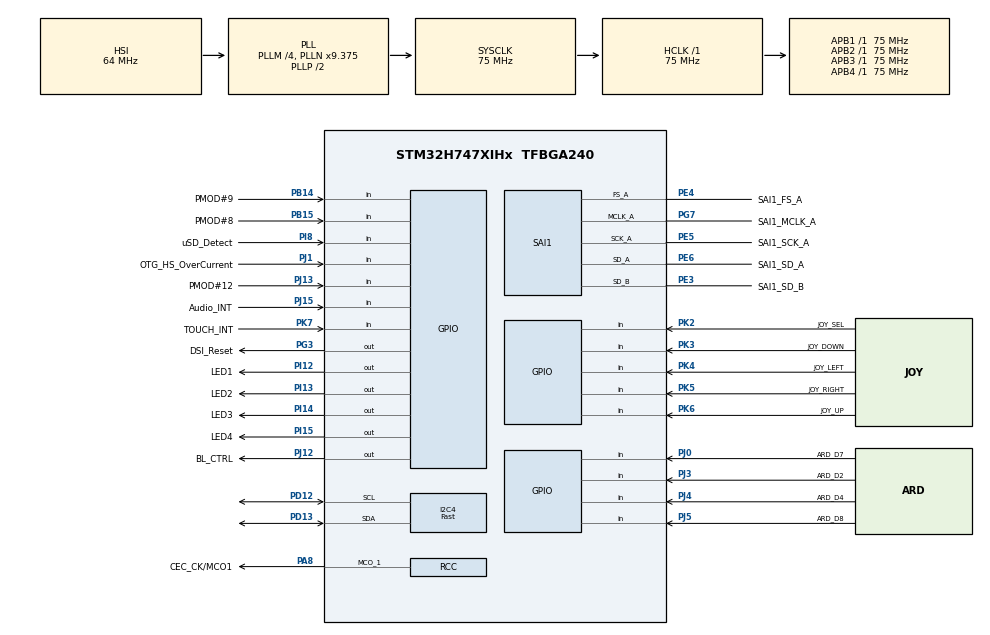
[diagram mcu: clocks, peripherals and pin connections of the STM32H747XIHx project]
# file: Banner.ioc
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CortexM4.IPs=BDMA,DMA,FATFS_M4\:I,FREERTOS_M4\:I,IWDG2\:I,MDMA,NVIC2\:I,RCC,USB_DEVICE_M4\:I,USB_HOST_M4\:I,WWDG2\:I,DEBUG,PDM2PCM_M4\:I,PWR,RESMGR_UTILITY,SYS_M4\:I,CORTEX_M4\:I,VREFBUF
CortexM7.IPs=BDMA\:I,DMA\:I,FATFS_M7\:I,FREERTOS_M7\:I,IWDG1\:I,MDMA\:I,NVIC1\:I,RCC\:I,USB_DEVICE_M7\:I,USB_HOST_M7\:I,WWDG1\:I,CORTEX_M7\:I,DEBUG\:I,PDM2PCM_M7\:I,PWR\:I,RESMGR_UTILITY\:I,SYS\:I,I2C4\:I,SAI1\:I,VREFBUF\:I
CortexM7.Pins=PI12,PI13,PI14,PI15
Dma.Request0=SAI1_A
Dma.Request1=SAI1_B
Dma.SAI1_A.0.Direction=DMA_MEMORY_TO_PERIPH
Dma.SAI1_A.0.EventEnable=DISABLE
Dma.SAI1_A.0.FIFOMode=DMA_FIFOMODE_ENABLE
Dma.SAI1_A.0.FIFOThreshold=DMA_FIFO_THRESHOLD_FULL
Dma.SAI1_A.0.Instance=DMA1_Stream0
Dma.SAI1_A.0.MemBurst=DMA_MBURST_SINGLE
Dma.SAI1_A.0.MemDataAlignment=DMA_MDATAALIGN_HALFWORD
Dma.SAI1_A.0.MemInc=DMA_MINC_ENABLE
Dma.SAI1_A.0.Mode=DMA_CIRCULAR
Dma.SAI1_A.0.PeriphBurst=DMA_PBURST_SINGLE
Dma.SAI1_A.0.PeriphDataAlignment=DMA_PDATAALIGN_HALFWORD
Dma.SAI1_A.0.PeriphInc=DMA_PINC_DISABLE
Dma.SAI1_A.0.Polarity=HAL_DMAMUX_REQ_GEN_RISING
Dma.SAI1_A.0.Priority=DMA_PRIORITY_HIGH
Dma.SAI1_A.0.RequestNumber=1
Dma.SAI1_A.0.SignalID=NONE
Dma.SAI1_A.0.SyncEnable=DISABLE
Dma.SAI1_A.0.SyncPolarity=HAL_DMAMUX_SYNC_NO_EVENT
Dma.SAI1_A.0.SyncRequestNumber=1
Dma.SAI1_A.0.SyncSignalID=NONE
Dma.SAI1_B.1.Direction=DMA_PERIPH_TO_MEMORY
Dma.SAI1_B.1.EventEnable=DISABLE
Dma.SAI1_B.1.FIFOMode=DMA_FIFOMODE_DISABLE
Dma.SAI1_B.1.Instance=DMA1_Stream1
Dma.SAI1_B.1.MemDataAlignment=DMA_MDATAALIGN_HALFWORD
Dma.SAI1_B.1.MemInc=DMA_MINC_ENABLE
Dma.SAI1_B.1.Mode=DMA_CIRCULAR
Dma.SAI1_B.1.PeriphDataAlignment=DMA_PDATAALIGN_HALFWORD
Dma.SAI1_B.1.PeriphInc=DMA_PINC_DISABLE
Dma.SAI1_B.1.Polarity=HAL_DMAMUX_REQ_GEN_RISING
Dma.SAI1_B.1.Priority=DMA_PRIORITY_HIGH
Dma.SAI1_B.1.RequestNumber=1
Dma.SAI1_B.1.SignalID=NONE
Dma.SAI1_B.1.SyncEnable=DISABLE
Dma.SAI1_B.1.SyncPolarity=HAL_DMAMUX_SYNC_NO_EVENT
Dma.SAI1_B.1.SyncRequestNumber=1
Dma.SAI1_B.1.SyncSignalID=NONE
I2C4.I2C_Speed_Mode=I2C_Fast
I2C4.Timing=0x00702787
Mcu.Family=STM32H7
Mcu.Name=STM32H747XIHx
Mcu.Package=TFBGA240
NVIC1.DMA1_Stream0_IRQn=true\:0\:0\:false\:false\:true\:false\:true
NVIC1.DMA1_Stream1_IRQn=true\:0\:0\:false\:false\:true\:false\:true
NVIC1.PriorityGroup=NVIC_PRIORITYGROUP_4
NVIC2.PriorityGroup=NVIC_PRIORITYGROUP_4
PA0_C.GPIO_Label=ARD_A2
PA0_C.PinAttribute=CortexM7
PA0_C.Signal=SharedAnalog_PA0
PA1.GPIO_Label=ETH_REF_CLK
PA1.Signal=ETH_REF_CLK
PA10.GPIO_Label=STLINK_TX
PA10.Signal=USART1_RX
PA11.GPIO_Label=PMOD\#1
PA11.Signal=SPI2_NSS
PA12.GPIO_Label=SPI2_SCK
PA12.Signal=SPI2_SCK
PA2.GPIO_Label=ETH_MDIO
PA2.Signal=ETH_MDIO
PA3.GPIO_Label=ULPI_D0
PA3.Signal=USB_OTG_HS_ULPI_D0
PA5.GPIO_Label=ULPI_CK
PA5.Signal=USB_OTG_HS_ULPI_CK
PA7.GPIO_Label=ETH_CRS_DV
PA7.Signal=ETH_CRS_DV
PA8.GPIO_Label=CEC_CK/MCO1
PA8.Mode=Clock-out-1
PA8.PinAttribute=CortexM7
PA8.Signal=RCC_MCO_1
PA9.GPIO_Label=STLINK_RX
PA9.Signal=USART1_TX
PB0.GPIO_Label=ULPI_D1
PB0.Signal=USB_OTG_HS_ULPI_D1
PB1.GPIO_Label=ULPI_D2
PB1.Signal=USB_OTG_HS_ULPI_D2
PB10.GPIO_Label=ULPI_D3
PB10.Signal=USB_OTG_HS_ULPI_D3
PB11.GPIO_Label=ULPI_D4
PB11.Signal=USB_OTG_HS_ULPI_D4
PB12.GPIO_Label=ULPI_D5
PB12.Signal=USB_OTG_HS_ULPI_D5
PB13.GPIO_Label=ULPI_D6
PB13.Signal=USB_OTG_HS_ULPI_D6
PB14.GPIO_Label=PMOD\#9
PB14.PinAttribute=Free
PB14.Signal=GPIO_Input
PB15.GPIO_Label=PMOD\#8
PB15.PinAttribute=Free
PB15.Signal=GPIO_Input
PB2.GPIO_Label=QSPI_CLK
PB2.Signal=QUADSPI_CLK
PB5.GPIO_Label=ULPI_D7
PB5.Signal=USB_OTG_HS_ULPI_D7
PB6.GPIO_Label=HDMI_CEC
PB6.Signal=CEC
PC0.GPIO_Label=ULPI_STP
PC0.Signal=USB_OTG_HS_ULPI_STP
PC1.GPIO_Label=ETH_MDC/SAI4_D1
PC1.Signal=ETH_MDC
PC10.GPIO_Label=SDIO1_D2
PC10.Signal=SDMMC1_D2
PC12.GPIO_Label=SDIO1_CK
PC12.Signal=SDMMC1_CK
PC13.GPIO_Label=B2 [Wakeup Button]
PC13.Signal=RTC_TAMP1
PC14-OSC32_IN\ (OSC32_IN).GPIO_Label=OSC32_IN
PC14-OSC32_IN\ (OSC32_IN).Mode=LSE-External-Oscillator
PC14-OSC32_IN\ (OSC32_IN).PinAttribute=CortexM7
PC14-OSC32_IN\ (OSC32_IN).Signal=RCC_OSC32_IN
PC15-OSC32_OUT\ (OSC32_OUT).GPIO_Label=OSC32_OUT
PC15-OSC32_OUT\ (OSC32_OUT).Mode=LSE-External-Oscillator
PC15-OSC32_OUT\ (OSC32_OUT).PinAttribute=CortexM7
PC15-OSC32_OUT\ (OSC32_OUT).Signal=RCC_OSC32_OUT
PC2.GPIO_Label=PMOD\#3
PC2.Signal=SPI2_MISO
PC2_C.GPIO_Label=ARD_A4
PC2_C.Signal=ADC3_INP0
PC3.GPIO_Label=PMOD\#2
PC3.Signal=SPI2_MOSI
PC3_C.GPIO_Label=ARD_A5
PC3_C.Signal=ADC3_INP1
PC4.GPIO_Label=ETH_RXD0
PC4.Signal=ETH_RXD0
PC5.GPIO_Label=ETH_RXD1
PC5.Signal=ETH_RXD1
PC8.GPIO_Label=SDIO1_D0
PC8.Signal=SDMMC1_D0
PD0.GPIO_Label=FMC_D2
PD0.Signal=FMC_D2_DA2
PD1.GPIO_Label=FMC_D3
PD1.Signal=FMC_D3_DA3
PD10.GPIO_Label=FMC_D15
PD10.Signal=FMC_D15_DA15
PD11.GPIO_Label=QSPI_BK1_IO0
PD11.Signal=QUADSPI_BK1_IO0
PD12.GPIO_Speed=GPIO_SPEED_FREQ_HIGH
PD12.Mode=I2C
PD12.PinAttribute=CortexM7
PD12.Signal=I2C4_SCL
PD13.GPIO_Speed=GPIO_SPEED_FREQ_HIGH
PD13.Mode=I2C
PD13.PinAttribute=CortexM7
PD13.Signal=I2C4_SDA
PD14.GPIO_Label=FMC_D0
PD14.Signal=FMC_D0_DA0
PD15.GPIO_Label=FMC_D1
PD15.Signal=FMC_D1_DA1
PD2.GPIO_Label=SDIO1_CMD
PD2.Signal=SDMMC1_CMD
PD7.GPIO_Label=SPDIF_RX0
PD7.Signal=SPDIFRX1_IN0
PD8.GPIO_Label=FMC_D13
PD8.Signal=FMC_D13_DA13
PD9.GPIO_Label=FMC_D14
PD9.Signal=FMC_D14_DA14
PE0.GPIO_Label=FMC_NBL0
PE0.Signal=FMC_NBL0
PE1.GPIO_Label=FMC_NBL1
PE1.Signal=FMC_NBL1
PE10.GPIO_Label=FMC_D7
PE10.Signal=FMC_D7_DA7
PE11.GPIO_Label=FMC_D8
PE11.Signal=FMC_D8_DA8
PE12.GPIO_Label=FMC_D9
PE12.Signal=FMC_D9_DA9
PE13.GPIO_Label=FMC_D10
PE13.Signal=FMC_D10_DA10
PE14.GPIO_Label=FMC_D11
PE14.Signal=FMC_D11_DA11
PE15.GPIO_Label=FMC_D12
PE15.Signal=FMC_D12_DA12
PE3.GPIO_Label=SAI1_SD_B
PE3.GPIO_Speed=GPIO_SPEED_FREQ_VERY_HIGH
PE3.Mode=SAI_B_SyncSlave
PE3.PinAttribute=CortexM7
PE3.Signal=SAI1_SD_B
PE4.GPIO_Label=SAI1_FS_A
PE4.GPIO_Speed=GPIO_SPEED_FREQ_VERY_HIGH
PE4.Mode=SAI_A_MasterWithClock
PE4.PinAttribute=CortexM7
PE4.Signal=SAI1_FS_A
PE5.GPIO_Label=SAI1_SCK_A
PE5.GPIO_Speed=GPIO_SPEED_FREQ_VERY_HIGH
PE5.Mode=SAI_A_MasterWithClock
PE5.PinAttribute=CortexM7
PE5.Signal=SAI1_SCK_A
PE6.GPIO_Label=SAI1_SD_A
PE6.GPIO_Speed=GPIO_SPEED_FREQ_VERY_HIGH
PE6.Mode=SAI_A_MasterWithClock
PE6.PinAttribute=CortexM7
PE6.Signal=SAI1_SD_A
PE7.GPIO_Label=FMC_D4
PE7.Signal=FMC_D4_DA4
PE8.GPIO_Label=FMC_D5
PE8.Signal=FMC_D5_DA5
PE9.GPIO_Label=FMC_D6
PE9.Signal=FMC_D6_DA6
PF0.GPIO_Label=FMC_A0
PF0.Signal=FMC_A0
PF1.GPIO_Label=FMC_A1
PF1.Signal=FMC_A1
PF10.GPIO_Label=ARD_A1
PF10.Signal=ADC3_INP6
PF11.GPIO_Label=FMC_SDRAS
PF11.Signal=FMC_SDNRAS
PF12.GPIO_Label=FMC_A6
PF12.Signal=FMC_A6
PF13.GPIO_Label=FMC_A7
PF13.Signal=FMC_A7
PF14.GPIO_Label=FMC_A8
PF14.Signal=FMC_A8
PF15.GPIO_Label=FMC_A9
PF15.Signal=FMC_A9
PF2.GPIO_Label=FMC_A2
PF2.Signal=FMC_A2
PF3.GPIO_Label=FMC_A3
PF3.Signal=FMC_A3
PF4.GPIO_Label=FMC_A4
PF4.Signal=FMC_A4
PF5.GPIO_Label=FMC_A5
PF5.Signal=FMC_A5
PF6.GPIO_Label=QSPI_BK1_IO3
PF6.Signal=QUADSPI_BK1_IO3
PF7.PinAttribute=CortexM7
PF7.Signal=SAI1_MCLK_B
PF8.PinAttribute=CortexM7
PF8.Signal=SAI1_SCK_B
PF9.PinAttribute=CortexM7
PF9.Signal=SAI1_FS_B
PG0.GPIO_Label=FMC_A10
PG0.Signal=FMC_A10
PG1.GPIO_Label=FMC_A11
PG1.Signal=FMC_A11
PG11.GPIO_Label=ETH_TX_EN
PG11.Signal=ETH_TX_EN
PG12.GPIO_Label=ETH_TXD1
PG12.Signal=ETH_TXD1
PG13.GPIO_Label=ETH_TXD0
PG13.Signal=ETH_TXD0
PG14.GPIO_Label=QSPI_BK2_IO3
PG14.Signal=QUADSPI_BK2_IO3
PG15.GPIO_Label=FMC_SDCAS
PG15.Signal=FMC_SDNCAS
PG2.GPIO_Label=FMC_A12
PG2.Signal=FMC_A12
PG3.GPIO_Label=DSI_Reset
PG3.PinAttribute=Free
PG3.Signal=GPIO_Output
PG4.GPIO_Label=FMC_BA0
PG4.Signal=FMC_A14_BA0
PG6.GPIO_Label=QSPI_BK1_NCS
PG6.Signal=QUADSPI_BK1_NCS
PG7.GPIO_Label=SAI1_MCLK_A
PG7.GPIO_Speed=GPIO_SPEED_FREQ_VERY_HIGH
PG7.Mode=SAI_A_MasterWithClock
PG7.PinAttribute=CortexM7
PG7.Signal=SAI1_MCLK_A
PG8.GPIO_Label=FMC_SDCLK
PG8.Signal=FMC_SDCLK
PG9.GPIO_Label=QSPI_BK2_IO2
PG9.Signal=QUADSPI_BK2_IO2
PH0-OSC_IN\ (PH0).GPIO_Label=OSC_IN
PH0-OSC_IN\ (PH0).Mode=HSE-External-Oscillator
PH0-OSC_IN\ (PH0).PinAttribute=CortexM7
PH0-OSC_IN\ (PH0).Signal=RCC_OSC_IN
PH1-OSC_OUT\ (PH1).GPIO_Label=OSC_OUT
PH1-OSC_OUT\ (PH1).Mode=HSE-External-Oscillator
PH1-OSC_OUT\ (PH1).PinAttribute=CortexM7
PH1-OSC_OUT\ (PH1).Signal=RCC_OSC_OUT
PH10.GPIO_Label=FMC_D18
PH10.Signal=FMC_D18
PH11.GPIO_Label=FMC_D19
PH11.Signal=FMC_D19
PH12.GPIO_Label=FMC_D20
PH12.Signal=FMC_D20
PH13.GPIO_Label=FMC_D21
PH13.Signal=FMC_D21
PH14.GPIO_Label=FMC_D22
PH14.Signal=FMC_D22
PH15.GPIO_Label=FMC_D23
PH15.Signal=FMC_D23
PH2.GPIO_Label=QSPI_BK2_IO0
PH2.Signal=QUADSPI_BK2_IO0
PH3.GPIO_Label=QSPI_BK2_IO1
PH3.Signal=QUADSPI_BK2_IO1
PH4.GPIO_Label=ULPI_NXT
PH4.Signal=USB_OTG_HS_ULPI_NXT
PH5.GPIO_Label=FMC_SDNWE
PH5.Signal=FMC_SDNWE
PH6.GPIO_Label=FMC_SDNE1
PH6.Signal=FMC_SDNE1
PH7.GPIO_Label=FMC_SDCKE1
PH7.Signal=FMC_SDCKE1
PH8.GPIO_Label=FMC_D16
PH8.Signal=FMC_D16
PH9.GPIO_Label=FMC_D17
PH9.Signal=FMC_D17
PI0.GPIO_Label=FMC_D24
PI0.Signal=FMC_D24
PI1.GPIO_Label=FMC_D25
PI1.Signal=FMC_D25
PI10.GPIO_Label=FMC_D31
PI10.Signal=FMC_D31
PI11.GPIO_Label=ULPI_DIR
PI11.Signal=USB_OTG_HS_ULPI_DIR
PI12.GPIO_Label=LED1
PI12.PinAttribute=CortexM7
PI12.PinState=GPIO_PIN_SET
PI12.Signal=GPIO_Output
PI13.GPIO_Label=LED2
PI13.PinAttribute=CortexM7
PI13.PinState=GPIO_PIN_SET
PI13.Signal=GPIO_Output
PI14.GPIO_Label=LED3
PI14.PinAttribute=CortexM7
PI14.PinState=GPIO_PIN_SET
PI14.Signal=GPIO_Output
PI15.GPIO_Label=LED4
PI15.PinAttribute=CortexM7
PI15.PinState=GPIO_PIN_SET
PI15.Signal=GPIO_Output
PI2.GPIO_Label=FMC_D26
PI2.Signal=FMC_D26
PI3.GPIO_Label=FMC_D27
PI3.Signal=FMC_D27
PI4.GPIO_Label=FMC_NBL2
PI4.Signal=FMC_NBL2
PI5.GPIO_Label=FMC_NBL3
PI5.Signal=FMC_NBL3
PI6.GPIO_Label=FMC_D28
PI6.Signal=FMC_D28
PI7.GPIO_Label=FMC_D29
PI7.Signal=FMC_D29
PI8.GPIO_Label=uSD_Detect
PI8.PinAttribute=Free
PI8.Signal=GPIO_Input
PI9.GPIO_Label=FMC_D30
PI9.Signal=FMC_D30
PJ0.GPIO_Label=ARD_D7
PJ0.PinAttribute=Free
PJ0.Signal=GPIO_Input
PJ1.GPIO_Label=OTG_HS_OverCurrent
PJ1.PinAttribute=Free
PJ1.Signal=GPIO_Input
PJ10.GPIO_Label=ARD_D11
PJ10.Signal=SPI5_MOSI
PJ11.GPIO_Label=ARD_D12
PJ11.Signal=SPI5_MISO
PJ12.GPIO_Label=BL_CTRL
PJ12.PinAttribute=Free
PJ12.Signal=GPIO_Output
PJ13.GPIO_Label=PMOD\#12
PJ13.PinAttribute=Free
PJ13.Signal=GPIO_Input
PJ15.GPIO_Label=Audio_INT
PJ15.PinAttribute=Free
PJ15.Signal=GPIO_Input
PJ3.GPIO_Label=ARD_D2
PJ3.PinAttribute=Free
PJ3.Signal=GPIO_Input
PJ4.GPIO_Label=ARD_D4
PJ4.PinAttribute=Free
PJ4.Signal=GPIO_Input
PJ5.GPIO_Label=ARD_D8
PJ5.PinAttribute=Free
PJ5.Signal=GPIO_Input
PJ6.GPIO_Label=ARD_D9
PJ6.Signal=S_TIM8_CH2
PJ7.GPIO_Label=ARD_D6
PJ7.Signal=TIM8_CH2N
PJ8.GPIO_Label=ARD_D1
PJ8.Signal=UART8_TX
PJ9.GPIO_Label=ARD_D0
PJ9.Signal=UART8_RX
PK0.GPIO_Label=ARD_D13
PK0.Signal=SPI5_SCK
PK1.GPIO_Label=ARD_D10
PK1.Signal=SPI5_NSS
PK2.GPIO_Label=JOY_SEL
PK2.PinAttribute=Free
PK2.Signal=GPIO_Input
PK3.GPIO_Label=JOY_DOWN
PK3.PinAttribute=Free
PK3.Signal=GPIO_Input
PK4.GPIO_Label=JOY_LEFT
PK4.PinAttribute=Free
PK4.Signal=GPIO_Input
PK5.GPIO_Label=JOY_RIGHT
PK5.PinAttribute=Free
PK5.Signal=GPIO_Input
PK6.GPIO_Label=JOY_UP
PK6.PinAttribute=Free
PK6.Signal=GPIO_Input
PK7.GPIO_Label=TOUCH_INT
PK7.PinAttribute=Free
PK7.Signal=GPIO_Input
ProjectManager.HeapSize=0x200
ProjectManager.StackSize=0x400
ProjectManager.TargetToolchain=STM32CubeIDE
RCC.ADCFreq_Value=135000000
RCC.APB1Freq_Value=75000000
RCC.APB2Freq_Value=75000000
RCC.APB3Freq_Value=75000000
RCC.APB4Freq_Value=75000000
RCC.CortexFreq_Value=75000000
RCC.DIVM1=4
RCC.DIVM2=4
RCC.DIVN1=9
RCC.DIVN2=16
RCC.DIVQ1=4
RCC.HCLKFreq_Value=75000000
RCC.PLL2FRACN=7168
RCC.PLLFRACN=3072
RCC.PWR_Regulator_Voltage_Scale=PWR_REGULATOR_VOLTAGE_SCALE0
RCC.SAI1CLockSelection=RCC_SAI1CLKSOURCE_PLL2
RCC.SYSCLKFreq_VALUE=75000000
RCC.SYSCLKSource=RCC_SYSCLKSOURCE_PLLCLK
RCC.SupplySource=PWR_DIRECT_SMPS_SUPPLY
RCC.USBFreq_Value=37500000
SAI1.ActiveFrameLength-SAI_A_MasterWithClock=32
SAI1.ActiveFrameLength-SAI_B_SyncSlave=32
SAI1.AudioFrequency-SAI_A_MasterWithClock=SAI_AUDIO_FREQUENCY_44K
SAI1.DataSize-SAI_A_MasterWithClock=SAI_DATASIZE_16
SAI1.DataSize-SAI_B_SyncSlave=SAI_DATASIZE_16
SAI1.ErrorAudioFreq-SAI_A_MasterWithClock=-0.12 %
SAI1.FIFOThreshold-SAI_A_MasterWithClock=SAI_FIFOTHRESHOLD_1QF
SAI1.FIFOThreshold-SAI_B_SyncSlave=SAI_FIFOTHRESHOLD_1QF
SAI1.FSDefinition-SAI_A_MasterWithClock=SAI_FS_CHANNEL_IDENTIFICATION
SAI1.FSDefinition-SAI_B_SyncSlave=SAI_FS_CHANNEL_IDENTIFICATION
SAI1.FSOffset-SAI_A_MasterWithClock=SAI_FS_BEFOREFIRSTBIT
SAI1.FSOffset-SAI_B_SyncSlave=SAI_FS_BEFOREFIRSTBIT
SAI1.FrameLength-SAI_A_MasterWithClock=64
SAI1.FrameLength-SAI_B_SyncSlave=64
SAI1.Instance-SAI_A_MasterWithClock=SAI$Index_Block_A
SAI1.Instance-SAI_B_SyncSlave=SAI$Index_Block_B
SAI1.MClockEnable-SAI_A_MasterWithClock=SAI_MASTERCLOCK_ENABLE
SAI1.NoDivider-SAI_A_MasterWithClock=SAI_MASTERDIVIDER_ENABLE
SAI1.OutputDrive-SAI_A_MasterWithClock=SAI_OUTPUTDRIVE_ENABLE
SAI1.RealAudioFreq-SAI_A_MasterWithClock=43.945 KHz
SAI1.SlotActive-SAI_A_MasterWithClock=0x0000000F
SAI1.SlotActive-SAI_B_SyncSlave=0x0000000F
SAI1.SlotNumber-SAI_A_MasterWithClock=4
SAI1.SlotNumber-SAI_B_SyncSlave=4
SAI1.SlotSize-SAI_A_MasterWithClock=SAI_SLOTSIZE_16B
SAI1.SlotSize-SAI_B_SyncSlave=SAI_SLOTSIZE_16B
SAI1.TriState-SAI_B_SyncSlave=SAI_OUTPUT_RELEASED
SAI1.VirtualMode-SAI_A_MasterWithClock=VM_MASTER
SAI1.VirtualMode-SAI_B_SyncSlave=VM_SLAVE
SAI1.VirtualSlotActive-SAI_A_MasterWithClock=SAI_SLOT_USERSETTING
SAI1.VirtualSlotActive-SAI_B_SyncSlave=SAI_SLOT_USERSETTING
SAI1.VirtualSlotActive0-SAI_A_MasterWithClock=true
SAI1.VirtualSlotActive0-SAI_B_SyncSlave=true
SAI1.VirtualSlotActive1-SAI_A_MasterWithClock=true
SAI1.VirtualSlotActive1-SAI_B_SyncSlave=true
SAI1.VirtualSlotActive2-SAI_A_MasterWithClock=true
SAI1.VirtualSlotActive2-SAI_B_SyncSlave=true
SAI1.VirtualSlotActive3-SAI_A_MasterWithClock=true
SAI1.VirtualSlotActive3-SAI_B_SyncSlave=true
SH.FMC_A0.0=FMC_A0
SH.FMC_A1.0=FMC_A1
SH.FMC_A10.0=FMC_A10
SH.FMC_A11.0=FMC_A11
SH.FMC_A12.0=FMC_A12
SH.FMC_A14_BA0.0=FMC_BA0
SH.FMC_A2.0=FMC_A2
SH.FMC_A3.0=FMC_A3
SH.FMC_A4.0=FMC_A4
SH.FMC_A5.0=FMC_A5
SH.FMC_A6.0=FMC_A6
SH.FMC_A7.0=FMC_A7
SH.FMC_A8.0=FMC_A8
SH.FMC_A9.0=FMC_A9
SH.FMC_D0_DA0.0=FMC_D0
SH.FMC_D10_DA10.0=FMC_D10
SH.FMC_D11_DA11.0=FMC_D11
SH.FMC_D12_DA12.0=FMC_D12
SH.FMC_D13_DA13.0=FMC_D13
SH.FMC_D14_DA14.0=FMC_D14
SH.FMC_D15_DA15.0=FMC_D15
SH.FMC_D16.0=FMC_D16
SH.FMC_D17.0=FMC_D17
SH.FMC_D18.0=FMC_D18
SH.FMC_D19.0=FMC_D19
SH.FMC_D1_DA1.0=FMC_D1
SH.FMC_D20.0=FMC_D20
SH.FMC_D21.0=FMC_D21
SH.FMC_D22.0=FMC_D22
SH.FMC_D23.0=FMC_D23
SH.FMC_D24.0=FMC_D24
SH.FMC_D25.0=FMC_D25
SH.FMC_D26.0=FMC_D26
SH.FMC_D27.0=FMC_D27
SH.FMC_D28.0=FMC_D28
SH.FMC_D29.0=FMC_D29
SH.FMC_D2_DA2.0=FMC_D2
SH.FMC_D30.0=FMC_D30
SH.FMC_D31.0=FMC_D31
SH.FMC_D3_DA3.0=FMC_D3
SH.FMC_D4_DA4.0=FMC_D4
SH.FMC_D5_DA5.0=FMC_D5
SH.FMC_D6_DA6.0=FMC_D6
SH.FMC_D7_DA7.0=FMC_D7
SH.FMC_D8_DA8.0=FMC_D8
SH.FMC_D9_DA9.0=FMC_D9
SH.FMC_NBL0.0=FMC_NBL0
SH.FMC_NBL1.0=FMC_NBL1
SH.FMC_NBL2.0=FMC_NBL2
SH.FMC_NBL3.0=FMC_NBL3
SH.FMC_SDCLK.0=FMC_SDCLK
SH.FMC_SDNCAS.0=FMC_SDNCAS
SH.FMC_SDNRAS.0=FMC_SDNRAS
SH.FMC_SDNWE.0=FMC_SDNWE
SH.S_TIM8_CH2.0=TIM8_CH2
SH.SharedAnalog_PA0.0=ADC1_INN1
SH.SharedAnalog_PA0.1=ADC1_INP0
VP_SYS_M4_VS_Systick.Mode=SysTick
board=STM32H747I-DISCO

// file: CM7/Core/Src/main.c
/* USER CODE BEGIN Header */
/**
 ******************************************************************************
 * @file           : main.c
 * @brief          : Main program body
 ******************************************************************************
 * @attention
 *
 * <h2><center>&copy; Copyright (c) 2020 STMicroelectronics.
 * All rights reserved.</center></h2>
 *
 * This software component is licensed by ST under BSD 3-Clause license,
 * the "License"; You may not use this file except in compliance with the
 * License. You may obtain a copy of the License at:
 *                        opensource.org/licenses/BSD-3-Clause
 *
 ******************************************************************************
 */
/* USER CODE END Header */

#include "main.h"

/* USER CODE BEGIN Includes */

#include "wm8994.h"

#include "copy_buffer.h"

/* USER CODE END Includes */

/* USER CODE BEGIN PD */

#define HSEM_ID_0 (0U) /* HW semaphore 0*/
/* USER CODE END PD */

I2C_HandleTypeDef hi2c4;

SAI_HandleTypeDef hsai_BlockA1;
SAI_HandleTypeDef hsai_BlockB1;
DMA_HandleTypeDef hdma_sai1_a;
DMA_HandleTypeDef hdma_sai1_b;

void SystemClock_Config(void);
static void MX_GPIO_Init(void);
static void MX_DMA_Init(void);
static void MX_I2C4_Init(void);
static void MX_SAI1_Init(void);

/* USER CODE BEGIN 0 */

#define RECORD_BUFFER_SIZE  32

#define __ATTR_RAM_D2	 __attribute__ ((section(".RAM_D2"))) __attribute__ ((aligned (4)))

int16_t RecordBuffer[RECORD_BUFFER_SIZE] __ATTR_RAM_D2;
int16_t PlaybackBuffer[2*RECORD_BUFFER_SIZE] __ATTR_RAM_D2;

/* USER CODE END 0 */

int main(void)
{
  /* USER CODE BEGIN Boot_Mode_Sequence_0 */
	int32_t timeout;
  /* USER CODE END Boot_Mode_Sequence_0 */

/* USER CODE BEGIN Boot_Mode_Sequence_1 */
	/* Wait until CPU2 boots and enters in stop mode or timeout*/
	timeout = 0xFFFF;
	while((__HAL_RCC_GET_FLAG(RCC_FLAG_D2CKRDY) != RESET) && (timeout-- > 0));
	if ( timeout < 0 )
	{
		Error_Handler();
	}
/* USER CODE END Boot_Mode_Sequence_1 */
  /* MCU Configuration--------------------------------------------------------*/

  /* Reset of all peripherals, Initializes the Flash interface and the Systick. */
  HAL_Init();

  /* Configure the system clock */
  SystemClock_Config();
/* USER CODE BEGIN Boot_Mode_Sequence_2 */
	/* When system initialization is finished, Cortex-M7 will release Cortex-M4 by means of HSEM notification */
	/*HW semaphore Clock enable*/
	__HAL_RCC_HSEM_CLK_ENABLE();
	/*Take HSEM */
	HAL_HSEM_FastTake(HSEM_ID_0);
	/*Release HSEM in order to notify the CPU2(CM4)*/
	HAL_HSEM_Release(HSEM_ID_0,0);
	/* wait until CPU2 wakes up from stop mode */
	timeout = 0xFFFF;
	while((__HAL_RCC_GET_FLAG(RCC_FLAG_D2CKRDY) == RESET) && (timeout-- > 0));
	if ( timeout < 0 )
	{
		Error_Handler();
	}
/* USER CODE END Boot_Mode_Sequence_2 */

  /* Initialize all configured peripherals */
  MX_GPIO_Init();
  MX_DMA_Init();
  MX_I2C4_Init();
  MX_SAI1_Init();
  /* USER CODE BEGIN 2 */

	if ((wm8994_ReadID(AUDIO_I2C_ADDRESS)) != WM8994_ID) {
		return HAL_ERROR;
	}

	wm8994_Reset(AUDIO_I2C_ADDRESS);

	if (wm8994_Init(AUDIO_I2C_ADDRESS, INPUT_DEVICE_INPUT_LINE_1 | OUTPUT_DEVICE_HEADPHONE , 80, SAI_AUDIO_FREQUENCY_44K) != 0) {
		Error_Handler();
	}

	if (wm8994_Play(AUDIO_I2C_ADDRESS) != 0) {
		Error_Handler();
	}

//	if (HAL_SAI_Receive_DMA(&hsai_BlockB1, (uint8_t*)RecordBuffer, RECORD_BUFFER_SIZE) != HAL_OK) {
//		Error_Handler();
//	}

//	SCB_CleanDCache_by_Addr((uint32_t*)PlaybackBuffer, RECORD_BUFFER_SIZE);
	for (int i = 0; i < RECORD_BUFFER_SIZE; i++) {
		int16_t val = (i < RECORD_BUFFER_SIZE/2) ? -25000 : 25000;
		PlaybackBuffer[i * 2] = val;
		PlaybackBuffer[i * 2 + 1] = -val;
	}

//	__HAL_TIM_ENABLE_DMA();

  /* USER CODE END 2 */

  /* Infinite loop */
  /* USER CODE BEGIN WHILE */
	uint32_t onOff = 0;
	uint32_t counter = HAL_GetTick() + 1000;
	for (;;) {
		if (HAL_SAI_Transmit(&hsai_BlockA1, (uint8_t*)PlaybackBuffer, 2*RECORD_BUFFER_SIZE, 1000) != HAL_OK) {
			Error_Handler();
		}

		uint32_t t = HAL_GetTick();
		if (t > counter) {
			HAL_GPIO_WritePin(LED1_GPIO_Port, LED1_Pin, onOff++%2 == 0 ?  GPIO_PIN_SET :  GPIO_PIN_RESET);
			counter = t + 1000;
		}
    /* USER CODE END WHILE */

	}
}

void SystemClock_Config(void)
{
  RCC_OscInitTypeDef RCC_OscInitStruct = {0};
  RCC_ClkInitTypeDef RCC_ClkInitStruct = {0};
  RCC_PeriphCLKInitTypeDef PeriphClkInitStruct = {0};

  /** Supply configuration update enable
  */
  HAL_PWREx_ConfigSupply(PWR_DIRECT_SMPS_SUPPLY);
  /** Configure the main internal regulator output voltage
  */
  __HAL_PWR_VOLTAGESCALING_CONFIG(PWR_REGULATOR_VOLTAGE_SCALE0);

  while(!__HAL_PWR_GET_FLAG(PWR_FLAG_VOSRDY)) {}
  /** Macro to configure the PLL clock source
  */
  __HAL_RCC_PLL_PLLSOURCE_CONFIG(RCC_PLLSOURCE_HSI);
  /** Initializes the CPU, AHB and APB busses clocks
  */
  RCC_OscInitStruct.OscillatorType = RCC_OSCILLATORTYPE_HSI;
  RCC_OscInitStruct.HSIState = RCC_HSI_DIV1;
  RCC_OscInitStruct.HSICalibrationValue = RCC_HSICALIBRATION_DEFAULT;
  RCC_OscInitStruct.PLL.PLLState = RCC_PLL_ON;
  RCC_OscInitStruct.PLL.PLLSource = RCC_PLLSOURCE_HSI;
  RCC_OscInitStruct.PLL.PLLM = 4;
  RCC_OscInitStruct.PLL.PLLN = 9;
  RCC_OscInitStruct.PLL.PLLP = 2;
  RCC_OscInitStruct.PLL.PLLQ = 4;
  RCC_OscInitStruct.PLL.PLLR = 2;
  RCC_OscInitStruct.PLL.PLLRGE = RCC_PLL1VCIRANGE_3;
  RCC_OscInitStruct.PLL.PLLVCOSEL = RCC_PLL1VCOMEDIUM;
  RCC_OscInitStruct.PLL.PLLFRACN = 3072;
  if (HAL_RCC_OscConfig(&RCC_OscInitStruct) != HAL_OK)
  {
    Error_Handler();
  }
  /** Initializes the CPU, AHB and APB busses clocks
  */
  RCC_ClkInitStruct.ClockType = RCC_CLOCKTYPE_HCLK|RCC_CLOCKTYPE_SYSCLK
                              |RCC_CLOCKTYPE_PCLK1|RCC_CLOCKTYPE_PCLK2
                              |RCC_CLOCKTYPE_D3PCLK1|RCC_CLOCKTYPE_D1PCLK1;
  RCC_ClkInitStruct.SYSCLKSource = RCC_SYSCLKSOURCE_PLLCLK;
  RCC_ClkInitStruct.SYSCLKDivider = RCC_SYSCLK_DIV1;
  RCC_ClkInitStruct.AHBCLKDivider = RCC_HCLK_DIV1;
  RCC_ClkInitStruct.APB3CLKDivider = RCC_APB3_DIV1;
  RCC_ClkInitStruct.APB1CLKDivider = RCC_APB1_DIV1;
  RCC_ClkInitStruct.APB2CLKDivider = RCC_APB2_DIV1;
  RCC_ClkInitStruct.APB4CLKDivider = RCC_APB4_DIV1;

  if (HAL_RCC_ClockConfig(&RCC_ClkInitStruct, FLASH_LATENCY_1) != HAL_OK)
  {
    Error_Handler();
  }
  PeriphClkInitStruct.PeriphClockSelection = RCC_PERIPHCLK_SAI1|RCC_PERIPHCLK_I2C4;
  PeriphClkInitStruct.PLL2.PLL2M = 4;
  PeriphClkInitStruct.PLL2.PLL2N = 16;
  PeriphClkInitStruct.PLL2.PLL2P = 2;
  PeriphClkInitStruct.PLL2.PLL2Q = 2;
  PeriphClkInitStruct.PLL2.PLL2R = 2;
  PeriphClkInitStruct.PLL2.PLL2RGE = RCC_PLL2VCIRANGE_3;
  PeriphClkInitStruct.PLL2.PLL2VCOSEL = RCC_PLL2VCOWIDE;
  PeriphClkInitStruct.PLL2.PLL2FRACN = 7168;
  PeriphClkInitStruct.Sai1ClockSelection = RCC_SAI1CLKSOURCE_PLL2;
  PeriphClkInitStruct.I2c4ClockSelection = RCC_I2C4CLKSOURCE_D3PCLK1;
  if (HAL_RCCEx_PeriphCLKConfig(&PeriphClkInitStruct) != HAL_OK)
  {
    Error_Handler();
  }
  HAL_RCC_MCOConfig(RCC_MCO1, RCC_MCO1SOURCE_HSI, RCC_MCODIV_1);
}

static void MX_I2C4_Init(void)
{

  hi2c4.Instance = I2C4;
  hi2c4.Init.Timing = 0x00702787;
  hi2c4.Init.OwnAddress1 = 0;
  hi2c4.Init.AddressingMode = I2C_ADDRESSINGMODE_7BIT;
  hi2c4.Init.DualAddressMode = I2C_DUALADDRESS_DISABLE;
  hi2c4.Init.OwnAddress2 = 0;
  hi2c4.Init.OwnAddress2Masks = I2C_OA2_NOMASK;
  hi2c4.Init.GeneralCallMode = I2C_GENERALCALL_DISABLE;
  hi2c4.Init.NoStretchMode = I2C_NOSTRETCH_DISABLE;
  if (HAL_I2C_Init(&hi2c4) != HAL_OK)
  {
    Error_Handler();
  }
  /** Configure Analogue filter
  */
  if (HAL_I2CEx_ConfigAnalogFilter(&hi2c4, I2C_ANALOGFILTER_ENABLE) != HAL_OK)
  {
    Error_Handler();
  }
  /** Configure Digital filter
  */
  if (HAL_I2CEx_ConfigDigitalFilter(&hi2c4, 0) != HAL_OK)
  {
    Error_Handler();
  }

}

static void MX_SAI1_Init(void)
{

  hsai_BlockA1.Instance = SAI1_Block_A;
  hsai_BlockA1.Init.Protocol = SAI_FREE_PROTOCOL;
  hsai_BlockA1.Init.AudioMode = SAI_MODEMASTER_TX;
  hsai_BlockA1.Init.DataSize = SAI_DATASIZE_16;
  hsai_BlockA1.Init.FirstBit = SAI_FIRSTBIT_MSB;
  hsai_BlockA1.Init.ClockStrobing = SAI_CLOCKSTROBING_FALLINGEDGE;
  hsai_BlockA1.Init.Synchro = SAI_ASYNCHRONOUS;
  hsai_BlockA1.Init.OutputDrive = SAI_OUTPUTDRIVE_ENABLE;
  hsai_BlockA1.Init.NoDivider = SAI_MASTERDIVIDER_ENABLE;
  hsai_BlockA1.Init.FIFOThreshold = SAI_FIFOTHRESHOLD_1QF;
  hsai_BlockA1.Init.AudioFrequency = SAI_AUDIO_FREQUENCY_44K;
  hsai_BlockA1.Init.SynchroExt = SAI_SYNCEXT_DISABLE;
  hsai_BlockA1.Init.MonoStereoMode = SAI_STEREOMODE;
  hsai_BlockA1.Init.CompandingMode = SAI_NOCOMPANDING;
  hsai_BlockA1.Init.TriState = SAI_OUTPUT_NOTRELEASED;
  hsai_BlockA1.Init.PdmInit.Activation = DISABLE;
  hsai_BlockA1.Init.PdmInit.MicPairsNbr = 1;
  hsai_BlockA1.Init.PdmInit.ClockEnable = SAI_PDM_CLOCK1_ENABLE;
  hsai_BlockA1.FrameInit.FrameLength = 64;
  hsai_BlockA1.FrameInit.ActiveFrameLength = 32;
  hsai_BlockA1.FrameInit.FSDefinition = SAI_FS_CHANNEL_IDENTIFICATION;
  hsai_BlockA1.FrameInit.FSPolarity = SAI_FS_ACTIVE_LOW;
  hsai_BlockA1.FrameInit.FSOffset = SAI_FS_BEFOREFIRSTBIT;
  hsai_BlockA1.SlotInit.FirstBitOffset = 0;
  hsai_BlockA1.SlotInit.SlotSize = SAI_SLOTSIZE_16B;
  hsai_BlockA1.SlotInit.SlotNumber = 4;
  hsai_BlockA1.SlotInit.SlotActive = 0x0000000F;
  if (HAL_SAI_Init(&hsai_BlockA1) != HAL_OK)
  {
    Error_Handler();
  }
  hsai_BlockB1.Instance = SAI1_Block_B;
  hsai_BlockB1.Init.Protocol = SAI_FREE_PROTOCOL;
  hsai_BlockB1.Init.AudioMode = SAI_MODESLAVE_RX;
  hsai_BlockB1.Init.DataSize = SAI_DATASIZE_16;
  hsai_BlockB1.Init.FirstBit = SAI_FIRSTBIT_MSB;
  hsai_BlockB1.Init.ClockStrobing = SAI_CLOCKSTROBING_FALLINGEDGE;
  hsai_BlockB1.Init.Synchro = SAI_SYNCHRONOUS;
  hsai_BlockB1.Init.OutputDrive = SAI_OUTPUTDRIVE_DISABLE;
  hsai_BlockB1.Init.FIFOThreshold = SAI_FIFOTHRESHOLD_1QF;
  hsai_BlockB1.Init.SynchroExt = SAI_SYNCEXT_DISABLE;
  hsai_BlockB1.Init.MonoStereoMode = SAI_STEREOMODE;
  hsai_BlockB1.Init.CompandingMode = SAI_NOCOMPANDING;
  hsai_BlockB1.Init.TriState = SAI_OUTPUT_RELEASED;
  hsai_BlockB1.Init.PdmInit.Activation = DISABLE;
  hsai_BlockB1.Init.PdmInit.MicPairsNbr = 1;
  hsai_BlockB1.Init.PdmInit.ClockEnable = SAI_PDM_CLOCK1_ENABLE;
  hsai_BlockB1.FrameInit.FrameLength = 64;
  hsai_BlockB1.FrameInit.ActiveFrameLength = 32;
  hsai_BlockB1.FrameInit.FSDefinition = SAI_FS_CHANNEL_IDENTIFICATION;
  hsai_BlockB1.FrameInit.FSPolarity = SAI_FS_ACTIVE_LOW;
  hsai_BlockB1.FrameInit.FSOffset = SAI_FS_BEFOREFIRSTBIT;
  hsai_BlockB1.SlotInit.FirstBitOffset = 0;
  hsai_BlockB1.SlotInit.SlotSize = SAI_SLOTSIZE_16B;
  hsai_BlockB1.SlotInit.SlotNumber = 4;
  hsai_BlockB1.SlotInit.SlotActive = 0x0000000F;
  if (HAL_SAI_Init(&hsai_BlockB1) != HAL_OK)
  {
    Error_Handler();
  }

}

static void MX_DMA_Init(void)
{

  /* DMA controller clock enable */
  __HAL_RCC_DMA1_CLK_ENABLE();

  /* DMA interrupt init */
  /* DMA1_Stream0_IRQn interrupt configuration */
  HAL_NVIC_SetPriority(DMA1_Stream0_IRQn, 0, 0);
  HAL_NVIC_EnableIRQ(DMA1_Stream0_IRQn);
  /* DMA1_Stream1_IRQn interrupt configuration */
  HAL_NVIC_SetPriority(DMA1_Stream1_IRQn, 0, 0);
  HAL_NVIC_EnableIRQ(DMA1_Stream1_IRQn);

}

static void MX_GPIO_Init(void)
{
  GPIO_InitTypeDef GPIO_InitStruct = {0};

  /* GPIO Ports Clock Enable */
  __HAL_RCC_GPIOC_CLK_ENABLE();
  __HAL_RCC_GPIOE_CLK_ENABLE();
  __HAL_RCC_GPIOA_CLK_ENABLE();
  __HAL_RCC_GPIOG_CLK_ENABLE();
  __HAL_RCC_GPIOI_CLK_ENABLE();
  __HAL_RCC_GPIOH_CLK_ENABLE();
  __HAL_RCC_GPIOF_CLK_ENABLE();
  __HAL_RCC_GPIOD_CLK_ENABLE();

  /*Configure GPIO pin Output Level */
  HAL_GPIO_WritePin(GPIOI, LED1_Pin|LED2_Pin|LED3_Pin|LED4_Pin, GPIO_PIN_SET);

  /*Configure GPIO pin : CEC_CK_MCO1_Pin */
  GPIO_InitStruct.Pin = CEC_CK_MCO1_Pin;
  GPIO_InitStruct.Mode = GPIO_MODE_AF_PP;
  GPIO_InitStruct.Pull = GPIO_NOPULL;
  GPIO_InitStruct.Speed = GPIO_SPEED_FREQ_LOW;
  GPIO_InitStruct.Alternate = GPIO_AF0_MCO;
  HAL_GPIO_Init(CEC_CK_MCO1_GPIO_Port, &GPIO_InitStruct);

  /*Configure GPIO pins : LED1_Pin LED2_Pin LED3_Pin LED4_Pin */
  GPIO_InitStruct.Pin = LED1_Pin|LED2_Pin|LED3_Pin|LED4_Pin;
  GPIO_InitStruct.Mode = GPIO_MODE_OUTPUT_PP;
  GPIO_InitStruct.Pull = GPIO_NOPULL;
  GPIO_InitStruct.Speed = GPIO_SPEED_FREQ_LOW;
  HAL_GPIO_Init(GPIOI, &GPIO_InitStruct);

  /*AnalogSwitch Config */
  HAL_SYSCFG_AnalogSwitchConfig(SYSCFG_SWITCH_PA0, SYSCFG_SWITCH_PA0_OPEN);

}

/* USER CODE BEGIN 4 */

void HAL_SAI_RxHalfCpltCallback(SAI_HandleTypeDef *hsai) {
//	CopyBuffer(&PlaybackBuffer[0], &RecordBuffer[0], RECORD_BUFFER_SIZE / 2);
}

void HAL_SAI_RxCpltCallback(SAI_HandleTypeDef *hsai) {
//	CopyBuffer(&PlaybackBuffer[RECORD_BUFFER_SIZE / 2], &RecordBuffer[RECORD_BUFFER_SIZE / 2], RECORD_BUFFER_SIZE / 2);
}

void HAL_SAI_TxCpltCallback(SAI_HandleTypeDef *hsai) { }
void HAL_SAI_TxHalfCpltCallback(SAI_HandleTypeDef *hsai) { }
void HAL_SAI_ErrorCallback(SAI_HandleTypeDef *hsai) {
	Error_Handler();
}

/* USER CODE END 4 */

void Error_Handler(void)
{
  /* USER CODE BEGIN Error_Handler_Debug */
	/* User can add his own implementation to report the HAL error return state */

	for(;;) {
		int delay = 100;
		HAL_GPIO_WritePin(LED3_GPIO_Port, LED3_Pin, GPIO_PIN_RESET);
		HAL_Delay(delay);
		HAL_GPIO_WritePin(LED3_GPIO_Port, LED3_Pin, GPIO_PIN_SET);
		HAL_GPIO_WritePin(LED4_GPIO_Port, LED4_Pin, GPIO_PIN_RESET);
		HAL_Delay(delay/2);
		HAL_GPIO_WritePin(LED4_GPIO_Port, LED4_Pin, GPIO_PIN_SET);
	}

  /* USER CODE END Error_Handler_Debug */
}

/************************ (C) COPYRIGHT STMicroelectronics *****END OF FILE****/
